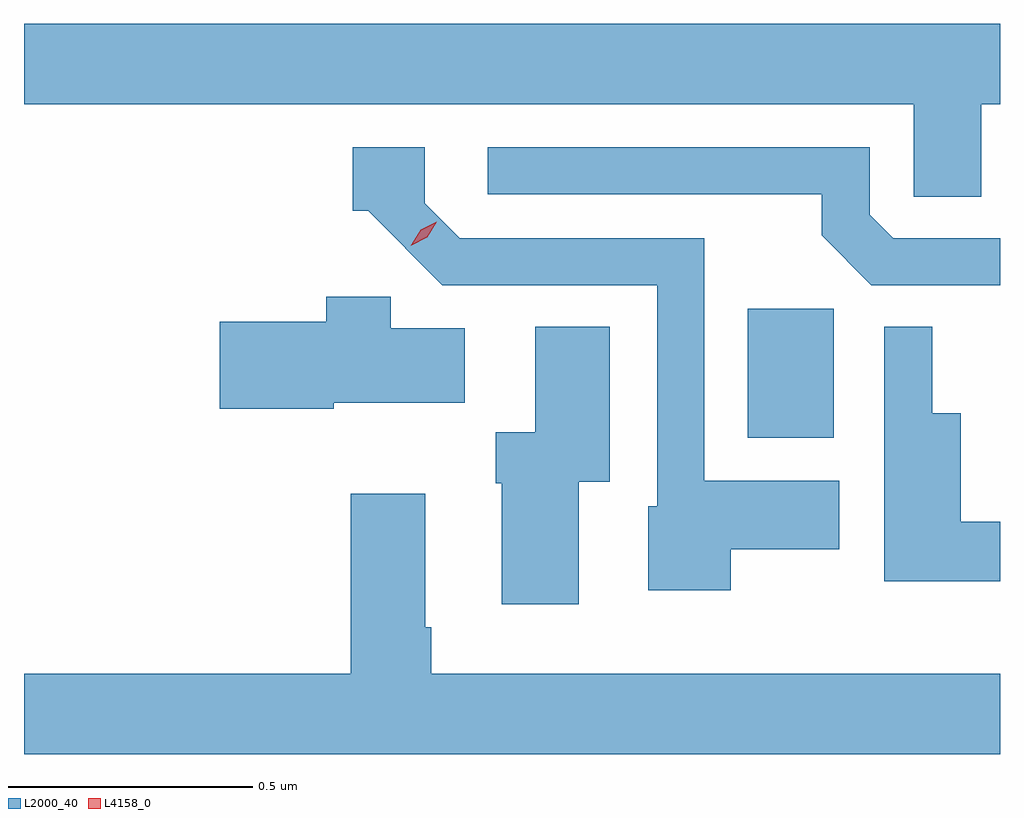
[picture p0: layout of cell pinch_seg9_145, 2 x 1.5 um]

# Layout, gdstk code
import gdstk
lib = gdstk.Library(unit=1e-6, precision=1e-09)
def R(c, l, rs):  # rectangles x0, y0, x1, y1
    for r in rs: c.add(gdstk.rectangle(r[:2], r[2:], *l))
def P(c, l, *ps):  # polygons
    for p in ps: c.add(gdstk.Polygon(p, *l))
L2000_40 = (2000, 40)
L4158_0 = (4158, 0)

pinch_seg9_145 = lib.new_cell('pinch_seg9_145')
R(pinch_seg9_145, L2000_40, [(647.732,1223.708,647.908,1223.972)])
P(pinch_seg9_145, L2000_40, [(648.211,1224.392),(648.249,1224.392),(648.249,1224.556),(646.249,1224.556),(646.249,1224.392),(648.072,1224.392),(648.072,1224.202),(648.211,1224.202)],
  [(648.249,1224.117),(648.03,1224.117),(647.982,1224.165),(647.982,1224.303),(647.199,1224.303),(647.199,1224.207),(647.884,1224.207),(647.884,1224.123),(647.985,1224.021),(648.249,1224.021)],
  [(647.697,1223.48),(647.92,1223.48),(647.92,1223.62),(647.643,1223.62),(647.643,1224.117),(647.142,1224.117),(647.07,1224.189),(647.07,1224.303),(646.923,1224.303),(646.923,1224.173),(646.954,1224.173),(647.106,1224.021),(647.547,1224.021),(647.547,1223.568),(647.528,1223.568),(647.528,1223.396),(647.697,1223.396)],
  [(646.884,1223.78),(647.152,1223.78),(647.152,1223.932),(647.001,1223.932),(647.001,1223.997),(646.868,1223.997),(646.868,1223.946),(646.65,1223.946),(646.65,1223.768),(646.884,1223.768)],
  [(648.249,1223.536),(648.169,1223.536),(648.169,1223.758),(648.11,1223.758),(648.11,1223.936),(648.012,1223.936),(648.012,1223.414),(648.249,1223.414)],
  [(647.386,1223.618),(647.449,1223.618),(647.449,1223.936),(647.297,1223.936),(647.297,1223.719),(647.216,1223.719),(647.216,1223.615),(647.228,1223.615),(647.228,1223.367),(647.386,1223.367)],
  [(648.249,1223.224),(647.084,1223.224),(647.084,1223.32),(647.071,1223.32),(647.071,1223.593),(646.919,1223.593),(646.919,1223.224),(646.249,1223.224),(646.249,1223.06),(648.249,1223.06)])
P(pinch_seg9_145, L4158_0, [(647.042,1224.102),(647.042,1224.102),(647.062,1224.134),(647.095,1224.151),(647.095,1224.151),(647.095,1224.151),(647.075,1224.119),(647.042,1224.102)])

lib.write_gds('pinch_seg9_145.gds')
